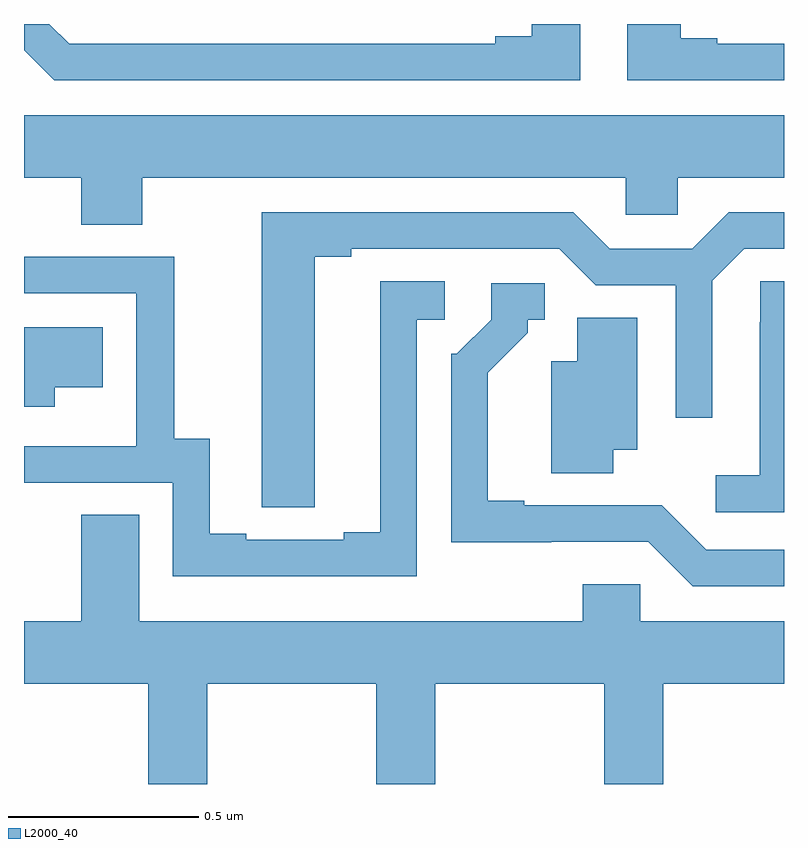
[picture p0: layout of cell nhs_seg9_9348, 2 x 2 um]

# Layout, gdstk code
import gdstk
lib = gdstk.Library(unit=1e-6, precision=1e-09)
def P(c, l, *ps):  # polygons
    for p in ps: c.add(gdstk.Polygon(p, *l))
L2000_40 = (2000, 40)

nhs_seg9_9348 = lib.new_cell('nhs_seg9_9348')
P(nhs_seg9_9348, L2000_40, [(230.464,1187.5),(230.336,1187.5),(230.336,1187.468),(230.24,1187.468),(230.24,1187.448),(229.119,1187.448),(229.067,1187.5),(229,1187.5),(229,1187.431),(229.079,1187.352),(230.464,1187.352)],
  [(231,1187.448),(230.824,1187.448),(230.824,1187.463),(230.728,1187.463),(230.728,1187.5),(230.588,1187.5),(230.588,1187.352),(231,1187.352)],
  [(229.311,1187.096),(230.583,1187.096),(230.583,1186.998),(230.721,1186.998),(230.721,1187.096),(231,1187.096),(231,1187.26),(229,1187.26),(229,1187.096),(229.151,1187.096),(229.151,1186.972),(229.311,1186.972)],
  [(229.765,1186.888),(229.861,1186.888),(229.861,1186.908),(230.409,1186.908),(230.505,1186.812),(230.715,1186.812),(230.715,1186.464),(230.811,1186.464),(230.811,1186.824),(230.895,1186.908),(231,1186.908),(231,1187.004),(230.855,1187.004),(230.759,1186.908),(230.541,1186.908),(230.445,1187.004),(229.625,1187.004),(229.625,1186.336),(229.626,1186.336),(229.626,1186.228),(229.765,1186.228)],
  [(230.034,1186.722),(230.107,1186.722),(230.107,1186.823),(229.937,1186.823),(229.937,1186.163),(229.841,1186.163),(229.841,1186.143),(229.585,1186.143),(229.585,1186.158),(229.489,1186.158),(229.489,1186.409),(229.395,1186.409),(229.395,1186.887),(229,1186.887),(229,1186.791),(229.296,1186.791),(229.296,1186.39),(229.295,1186.39),(229.295,1186.389),(229,1186.389),(229,1186.293),(229.392,1186.293),(229.392,1186.047),(230.034,1186.047)],
  [(231,1186.823),(230.937,1186.823),(230.937,1186.715),(230.936,1186.715),(230.936,1186.312),(230.82,1186.312),(230.82,1186.215),(231,1186.215)],
  [(231,1186.116),(230.796,1186.116),(230.678,1186.234),(230.582,1186.234),(230.582,1186.233),(230.317,1186.233),(230.317,1186.246),(230.221,1186.246),(230.221,1186.582),(230.326,1186.687),(230.326,1186.722),(230.371,1186.722),(230.371,1186.818),(230.229,1186.818),(230.229,1186.722),(230.139,1186.632),(230.124,1186.632),(230.124,1186.136),(230.387,1186.136),(230.387,1186.137),(230.643,1186.137),(230.76,1186.02),(231,1186.02)],
  [(230.551,1186.379),(230.614,1186.379),(230.614,1186.727),(230.456,1186.727),(230.456,1186.612),(230.387,1186.612),(230.387,1186.318),(230.551,1186.318)],
  [(229.081,1186.544),(229.207,1186.544),(229.207,1186.702),(229,1186.702),(229,1186.493),(229.081,1186.493)],
  [(229.482,1185.764),(229.927,1185.764),(229.927,1185.5),(230.082,1185.5),(230.082,1185.764),(230.527,1185.764),(230.527,1185.5),(230.682,1185.5),(230.682,1185.764),(231,1185.764),(231,1185.928),(230.622,1185.928),(230.622,1186.026),(230.471,1186.026),(230.471,1185.928),(229.303,1185.928),(229.303,1186.208),(229.151,1186.208),(229.151,1185.928),(229,1185.928),(229,1185.764),(229.327,1185.764),(229.327,1185.5),(229.482,1185.5)])

lib.write_gds('nhs_seg9_9348.gds')
